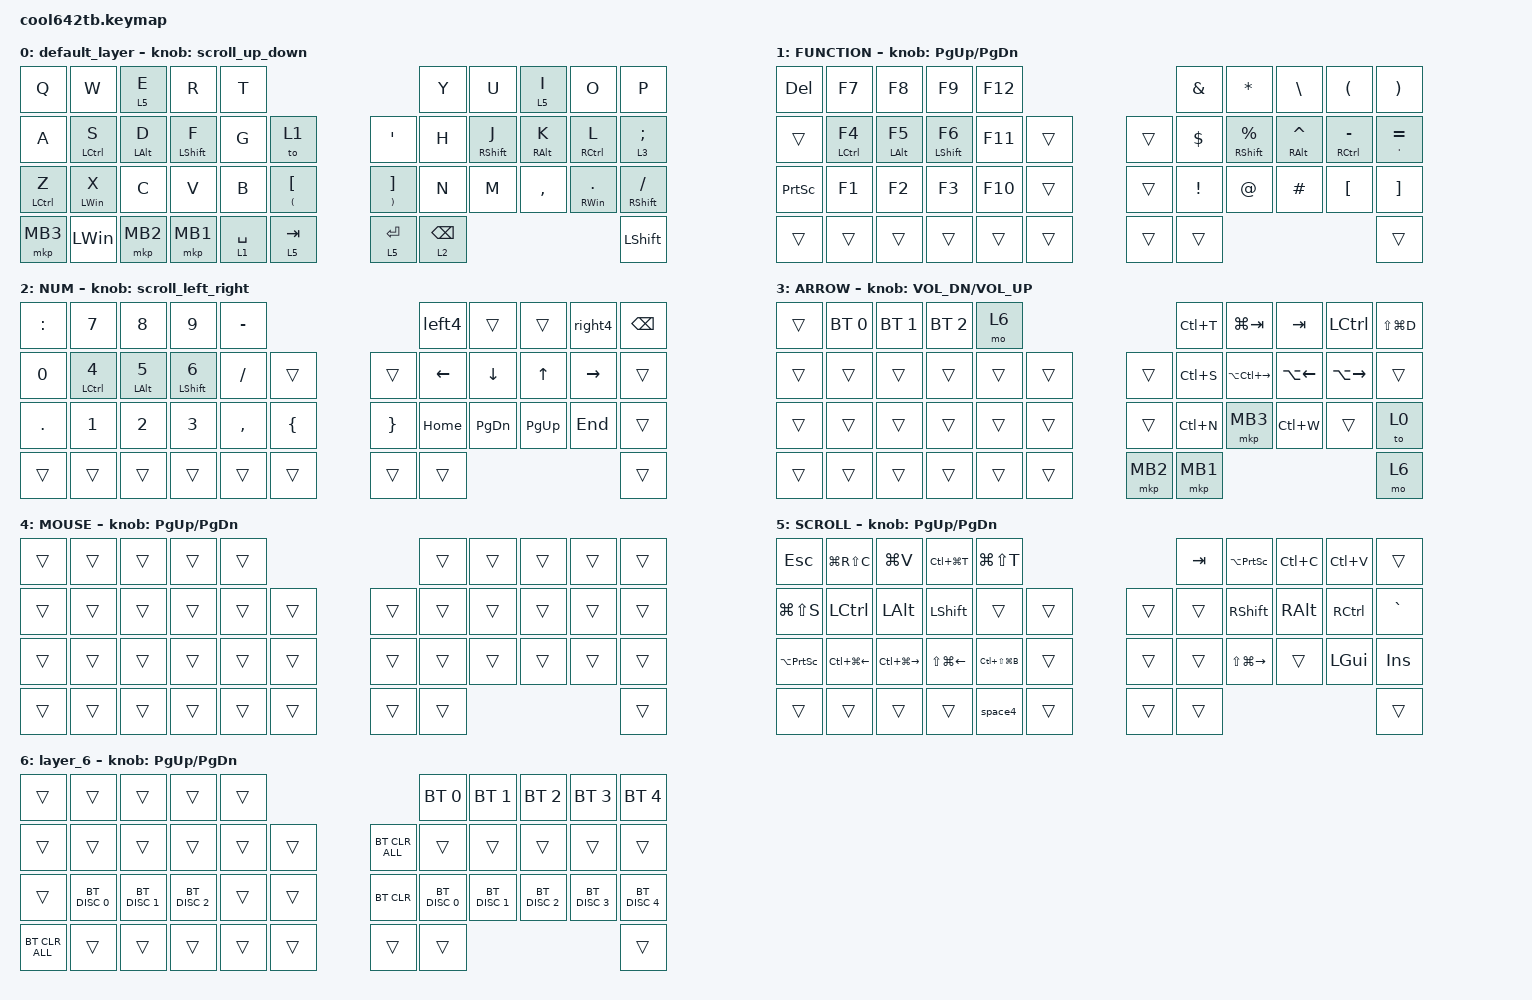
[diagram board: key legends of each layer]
#include <behaviors.dtsi>
#include <dt-bindings/zmk/bt.h>
#include <dt-bindings/zmk/keys.h>
#include <dt-bindings/zmk/pointing.h>

#define MOUSE 4
#define SCROLL 5
#define NUM 6

#define ZMK_POINTING_DEFAULT_SCRL_VAL 100

&mt {
    flavor = "balanced";
    quick-tap-ms = <300>;
};

&lt { quick-tap-ms = <300>; };

/ {
    combos {
        compatible = "zmk,combos";

        tab {
            bindings = <&kp TAB>;
            key-positions = <10 11>;
        };

        tonzura {
            bindings = <&kp ESC>;
            key-positions = <1 0>;
        };

        toEng {
            bindings = <&kp LANG2>;
            key-positions = <25 24>;
        };

        toJp {
            bindings = <&kp LANG1>;
            key-positions = <30 31>;
        };

        single {
            bindings = <&kp SINGLE_QUOTE>;
            key-positions = <33 32>;
        };

        minus {
            bindings = <&kp MINUS>;
            key-positions = <21 20>;
        };

        mb2 {
            bindings = <&mkp MB2>;
            key-positions = <12 13>;
        };

        mb3 {
            bindings = <&mkp MB3>;
            key-positions = <22 23>;
        };
    };

    macros {
        to_layer_0: to_layer_0 {
            compatible = "zmk,behavior-macro-one-param";
            #binding-cells = <1>;
            bindings = <&to 0 &macro_param_1to1 &kp MACRO_PLACEHOLDER>;
            label = "TO_LAYER_0";
        };

        space4: space4 {
            compatible = "zmk,behavior-macro";
            #binding-cells = <0>;
            bindings = <&kp SPACE &kp SPACE &kp SPACE &kp SPACE>;
            label = "SPACE4";
        };

        right4: right4 {
            compatible = "zmk,behavior-macro";
            #binding-cells = <0>;
            bindings = <&kp RIGHT &kp RIGHT &kp RIGHT &kp RIGHT>;
            label = "RIGHT4";
        };

        left4: left4 {
            compatible = "zmk,behavior-macro";
            #binding-cells = <0>;
            bindings = <&kp LEFT &kp LEFT &kp LEFT &kp LEFT>;
            label = "LEFT4";
        };

        dispSW: dispSW {
            compatible = "zmk,behavior-macro";
            #binding-cells = <0>;
            bindings =
                <&macro_press>,
                <&kp LCTRL &kp LSHIFT &kp LWIN &kp B>,
                <&macro_release>,
                <&kp LCTRL &kp LSHIFT &kp LWIN &kp B>;

            label = "DISPSW";
        };
    };

    behaviors {
        lt_to_layer_0: lt_to_layer_0 {
            compatible = "zmk,behavior-hold-tap";
            label = "LAYER_TAP_TO_0";
            bindings = <&mo>, <&to_layer_0>;

            #binding-cells = <2>;
            tapping-term-ms = <200>;
        };

        scroll_up_down: behavior_sensor_rotate_mouse_wheel_up_down {
            compatible = "zmk,behavior-sensor-rotate";
            #sensor-binding-cells = <0>;
            bindings = <&msc SCRL_UP>, <&msc SCRL_DOWN>;

            tap-ms = <20>;
        };

        scroll_down_up: behavior_sensor_rotate_mouse_wheel_down_up {
            compatible = "zmk,behavior-sensor-rotate";
            #sensor-binding-cells = <0>;
            bindings = <&msc SCRL_DOWN>, <&msc SCRL_UP>;

            tap-ms = <20>;
        };

        scroll_left_right: behavior_sensor_rotate_mouse_wheel_left_right {
            compatible = "zmk,behavior-sensor-rotate";
            #sensor-binding-cells = <0>;
            bindings = <&msc SCRL_LEFT>, <&msc SCRL_RIGHT>;

            tap-ms = <20>;
        };
    };

    keymap {
        compatible = "zmk,keymap";

        default_layer {
            bindings = <
&kp Q        &kp W        &lt 5 E     &kp R         &kp T                                                                                &kp Y            &kp U         &lt 5 I     &kp O            &kp P
&kp A        &mt LCTRL S  &mt LALT D  &mt LSHIFT F  &kp G        &to 1                              &kp SQT                              &kp H            &mt RSHIFT J  &mt RALT K  &mt RCTRL L      &lt 3 SEMICOLON
&mt LCTRL Z  &mt LWIN X   &kp C       &kp V         &kp B        &mt LEFT_PARENTHESIS LEFT_BRACKET  &mt RIGHT_PARENTHESIS RIGHT_BRACKET  &kp N            &kp M         &kp COMMA   &mt RWIN PERIOD  &mt RSHIFT SLASH
&mkp MB3     &kp LWIN     &mkp MB2    &mkp MB1      &lt 1 SPACE  &lt 5 TAB                          &lt 5 ENTER                          &lt 2 BACKSPACE                                             &kp LEFT_SHIFT
            >;

            sensor-bindings = <&scroll_up_down>;
        };

        FUNCTION {
            bindings = <
&kp DELETE       &kp F7        &kp F8           &kp F9         &kp F12                  &kp AMPERSAND    &kp ASTERISK        &kp BACKSLASH   &kp LEFT_PARENTHESIS  &kp RIGHT_PARENTHESIS
&trans           &mt LCTRL F4  &mt LEFT_ALT F5  &mt LSHIFT F6  &kp F11  &trans  &trans  &kp DOLLAR       &mt RSHIFT PERCENT  &mt RALT CARET  &mt RCTRL MINUS       &mt SINGLE_QUOTE EQUAL
&kp PRINTSCREEN  &kp F1        &kp F2           &kp F3         &kp F10  &trans  &trans  &kp EXCLAMATION  &kp AT_SIGN         &kp HASH        &kp LEFT_BRACKET      &kp RIGHT_BRACKET
&trans           &trans        &trans           &trans         &trans   &trans  &trans  &trans                                                                     &trans
            >;

            sensor-bindings = <&inc_dec_kp PG_UP PAGE_DOWN>;
        };

        NUM {
            bindings = <
&kp COLON   &kp N7              &kp N8           &kp N9               &kp MINUS                                   &left4    &trans          &trans        &right4    &kp BACKSPACE
&kp N0      &mt LCTRL NUMBER_4  &mt LEFT_ALT N5  &mt LSHIFT NUMBER_6  &kp SLASH  &trans          &trans           &kp LEFT  &kp DOWN_ARROW  &kp UP_ARROW  &kp RIGHT  &trans
&kp PERIOD  &kp NUMBER_1        &kp NUMBER_2     &kp NUMBER_3         &kp COMMA  &kp LEFT_BRACE  &kp RIGHT_BRACE  &kp HOME  &kp PAGE_DOWN   &kp PAGE_UP   &kp END    &trans
&trans      &trans              &trans           &trans               &trans     &trans          &trans           &trans                                             &trans
            >;

            sensor-bindings = <&scroll_left_right>;
        };

        ARROW {
            bindings = <
&trans  &bt BT_SEL 0  &bt BT_SEL 1  &bt BT_SEL 2  &mo 6                     &kp LC(T)  &kp LG(TAB)        &kp TAB       &kp LCTRL      &kp LS(LG(D))
&trans  &trans        &trans        &trans        &trans  &trans  &trans    &kp LC(S)  &kp LA(LC(RIGHT))  &kp LA(LEFT)  &kp LA(RIGHT)  &trans
&trans  &trans        &trans        &trans        &trans  &trans  &trans    &kp LC(N)  &mkp MB3           &kp LC(W)     &trans         &to 0
&trans  &trans        &trans        &trans        &trans  &trans  &mkp MB2  &mkp MB1                                                   &mo 6
            >;

            sensor-bindings = <&inc_dec_kp C_VOL_DN C_VOL_UP>;
        };

        MOUSE {
            bindings = <
&trans  &trans  &trans  &trans  &trans                  &trans  &trans  &trans  &trans  &trans
&trans  &trans  &trans  &trans  &trans  &trans  &trans  &trans  &trans  &trans  &trans  &trans
&trans  &trans  &trans  &trans  &trans  &trans  &trans  &trans  &trans  &trans  &trans  &trans
&trans  &trans  &trans  &trans  &trans  &trans  &trans  &trans                          &trans
            >;

            sensor-bindings = <&inc_dec_kp PG_UP PAGE_DOWN>;
        };

        SCROLL {
            bindings = <
&kp ESC              &kp LG(RS(C))     &kp LG(V)          &kp LC(LG(T))     &kp LG(LS(T))                      &kp TAB  &kp LA(PRINTSCREEN)  &kp LC(C)  &kp LC(V)  &trans
&kp LG(LS(S))        &kp LCTRL         &kp LALT           &kp LSHFT         &trans             &trans  &trans  &trans   &kp RSHFT            &kp RALT   &kp RCTRL  &kp GRAVE
&kp LA(PRINTSCREEN)  &kp LC(LG(LEFT))  &kp LC(LG(RIGHT))  &kp LS(LG(LEFT))  &kp LC(LS(LG(B)))  &trans  &trans  &trans   &kp LS(LG(RIGHT))    &trans     &kp LGUI   &kp INS
&trans               &trans            &trans             &trans            &space4            &trans  &trans  &trans                                              &trans
            >;

            sensor-bindings = <&inc_dec_kp PG_UP PAGE_DOWN>;
        };

        layer_6 {
            bindings = <
&trans          &trans         &trans         &trans         &trans                          &bt BT_SEL 0   &bt BT_SEL 1   &bt BT_SEL 2   &bt BT_SEL 3   &bt BT_SEL 4
&trans          &trans         &trans         &trans         &trans  &trans  &bt BT_CLR_ALL  &trans         &trans         &trans         &trans         &trans
&trans          &bt BT_DISC 0  &bt BT_DISC 1  &bt BT_DISC 2  &trans  &trans  &bt BT_CLR      &bt BT_DISC 0  &bt BT_DISC 1  &bt BT_DISC 2  &bt BT_DISC 3  &bt BT_DISC 4
&bt BT_CLR_ALL  &trans         &trans         &trans         &trans  &trans  &trans          &trans                                                      &trans
            >;

            sensor-bindings = <&inc_dec_kp PG_UP PAGE_DOWN>;
        };
    };
};
